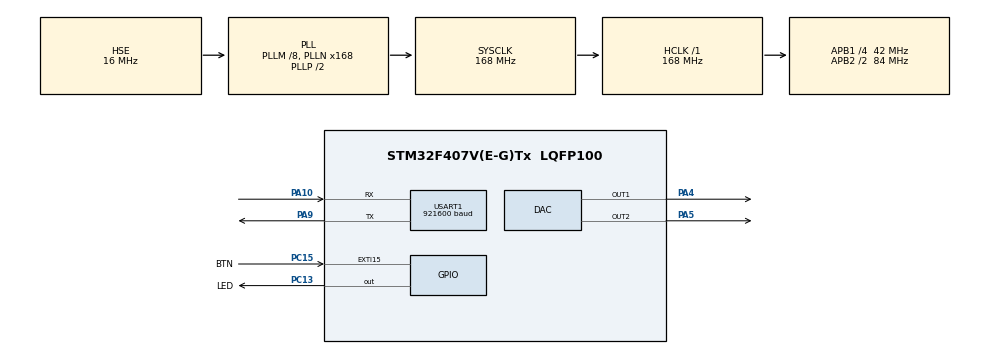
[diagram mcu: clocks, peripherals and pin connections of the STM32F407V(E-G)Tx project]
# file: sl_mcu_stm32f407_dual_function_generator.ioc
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ARM.CMSIS.5.6.0.CMSISJjDSP=Library
DAC.DAC_Trigger=DAC_TRIGGER_T6_TRGO
DAC.DAC_Trigger2=DAC_TRIGGER_T6_TRGO
Dma.DAC1.0.Direction=DMA_MEMORY_TO_PERIPH
Dma.DAC1.0.FIFOMode=DMA_FIFOMODE_DISABLE
Dma.DAC1.0.Instance=DMA1_Stream5
Dma.DAC1.0.MemDataAlignment=DMA_MDATAALIGN_HALFWORD
Dma.DAC1.0.MemInc=DMA_MINC_ENABLE
Dma.DAC1.0.Mode=DMA_CIRCULAR
Dma.DAC1.0.PeriphDataAlignment=DMA_PDATAALIGN_HALFWORD
Dma.DAC1.0.PeriphInc=DMA_PINC_DISABLE
Dma.DAC1.0.Priority=DMA_PRIORITY_LOW
Dma.DAC2.1.Direction=DMA_MEMORY_TO_PERIPH
Dma.DAC2.1.FIFOMode=DMA_FIFOMODE_DISABLE
Dma.DAC2.1.Instance=DMA1_Stream6
Dma.DAC2.1.MemDataAlignment=DMA_MDATAALIGN_HALFWORD
Dma.DAC2.1.MemInc=DMA_MINC_ENABLE
Dma.DAC2.1.Mode=DMA_CIRCULAR
Dma.DAC2.1.PeriphDataAlignment=DMA_PDATAALIGN_HALFWORD
Dma.DAC2.1.PeriphInc=DMA_PINC_DISABLE
Dma.DAC2.1.Priority=DMA_PRIORITY_LOW
Dma.Request0=DAC1
Dma.Request1=DAC2
Mcu.Family=STM32F4
Mcu.Name=STM32F407V(E-G)Tx
Mcu.Package=LQFP100
NVIC.DMA1_Stream5_IRQn=true\:0\:0\:false\:false\:true\:false\:true\:true
NVIC.DMA1_Stream6_IRQn=true\:0\:0\:false\:false\:true\:false\:true\:true
NVIC.EXTI15_10_IRQn=true\:0\:0\:false\:false\:true\:true\:true\:true
NVIC.PriorityGroup=NVIC_PRIORITYGROUP_4
PA10.Mode=Asynchronous
PA10.Signal=USART1_RX
PA13.Mode=Trace_Asynchronous_SW
PA13.Signal=SYS_JTMS-SWDIO
PA14.Mode=Trace_Asynchronous_SW
PA14.Signal=SYS_JTCK-SWCLK
PA4.Signal=COMP_DAC1_group
PA5.Signal=COMP_DAC2_group
PA9.Mode=Asynchronous
PA9.Signal=USART1_TX
PB3.Mode=Trace_Asynchronous_SW
PB3.Signal=SYS_JTDO-SWO
PC13-ANTI_TAMP.GPIO_Label=LED
PC13-ANTI_TAMP.GPIO_ModeDefaultOutputPP=GPIO_MODE_OUTPUT_OD
PC13-ANTI_TAMP.GPIO_PuPd=GPIO_NOPULL
PC13-ANTI_TAMP.PinState=GPIO_PIN_SET
PC13-ANTI_TAMP.Signal=GPIO_Output
PC15-OSC32_OUT.GPIO_Label=BTN
PC15-OSC32_OUT.GPIO_ModeDefaultEXTI=GPIO_MODE_IT_FALLING
PC15-OSC32_OUT.Signal=GPXTI15
PH0-OSC_IN.Mode=HSE-External-Oscillator
PH0-OSC_IN.Signal=RCC_OSC_IN
PH1-OSC_OUT.Mode=HSE-External-Oscillator
PH1-OSC_OUT.Signal=RCC_OSC_OUT
ProjectManager.HeapSize=0x200
ProjectManager.StackSize=0x400
ProjectManager.TargetToolchain=STM32CubeIDE
RCC.48MHZClocksFreq_Value=84000000
RCC.AHBFreq_Value=168000000
RCC.APB1CLKDivider=RCC_HCLK_DIV4
RCC.APB1Freq_Value=42000000
RCC.APB1TimFreq_Value=84000000
RCC.APB2CLKDivider=RCC_HCLK_DIV2
RCC.APB2Freq_Value=84000000
RCC.APB2TimFreq_Value=168000000
RCC.CortexFreq_Value=168000000
RCC.HCLKFreq_Value=168000000
RCC.HSE_VALUE=16000000
RCC.HSI_VALUE=16000000
RCC.LSE_VALUE=32768
RCC.PLLM=8
RCC.PLLN=168
RCC.PLLSourceVirtual=RCC_PLLSOURCE_HSE
RCC.SYSCLKFreq_VALUE=168000000
RCC.SYSCLKSource=RCC_SYSCLKSOURCE_PLLCLK
RCC.VCOOutputFreq_Value=336000000
SH.COMP_DAC1_group.0=DAC_OUT1,DAC_OUT1
SH.COMP_DAC2_group.0=DAC_OUT2,DAC_OUT2
TIM6.Period=5 - 1
TIM6.Prescaler=84 - 1
TIM6.TIM_MasterOutputTrigger=TIM_TRGO_UPDATE
USART1.BaudRate=921600
USART1.VirtualMode=VM_ASYNC
VP_ARM.CMSIS_VS_CMSISJjDSP_1.7.0_5.6.0.Mode=CMSISJjDSP
VP_TIM6_VS_ClockSourceINT.Mode=Enable_Timer
board=custom

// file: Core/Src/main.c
/* USER CODE BEGIN Header */
/**
 ******************************************************************************
 * @file           : main.c
 * @brief          : Main program body
 ******************************************************************************
 * @attention
 *
 * Copyright (c) 2026 STM32World <lth@stm32world.com>
 * All rights reserved.
 *
 * This software is licensed under terms that can be found in the LICENSE file
 * in the root directory of this software component.
 * If no LICENSE file comes with this software, it is provided AS-IS.
 *
 ******************************************************************************
 */
/* USER CODE END Header */
#include "main.h"

/* USER CODE BEGIN Includes */
#include <stdio.h>
#include <math.h>
#include <arm_math.h>
/* USER CODE END Includes */

/* USER CODE BEGIN PTD */

enum wave_t {
    SINE_WAVE = 0,
    SAW_RIGHT_WAVE = 1,
    SAW_LEFT_WAVE = 2,
    TRIANGLE_WAVE = 3,
    SQUARE_WAVE = 4
};

typedef struct {
    uint16_t *buffer;
    enum wave_t wave_type;
    float angle;
    float angle_change;
    float attenuation;
} channel_queue_t;

/* USER CODE END PTD */

/* USER CODE BEGIN PD */

#define DMA_BUFFER_SIZE 64
#define SAMPLE_FREQ 200000
#define OUTPUT_MID 2048
#define OUTPUT_MAX 4096

/* USER CODE END PD */

DAC_HandleTypeDef hdac;
DMA_HandleTypeDef hdma_dac1;
DMA_HandleTypeDef hdma_dac2;

TIM_HandleTypeDef htim6;

UART_HandleTypeDef huart1;

/* USER CODE BEGIN PV */

uint16_t dma_buffer_1[2 * DMA_BUFFER_SIZE];
uint16_t dma_buffer_2[2 * DMA_BUFFER_SIZE];

// Handler for both channels
channel_queue_t dacs[2] = {
        {
                &dma_buffer_1[0],
                SINE_WAVE,
                0,
                1000 * (2 * M_PI / SAMPLE_FREQ),
                0.99
        },
        {
                &dma_buffer_2[0],
                SINE_WAVE,
                0,
                1000 * (2 * M_PI / SAMPLE_FREQ),
                0.99
        }
};

uint8_t change_wave = 0;

/* USER CODE END PV */

void SystemClock_Config(void);
static void MX_GPIO_Init(void);
static void MX_DMA_Init(void);
static void MX_DAC_Init(void);
static void MX_USART1_UART_Init(void);
static void MX_TIM6_Init(void);

/* USER CODE BEGIN 0 */

// Send printf to uart1
int __io_putchar(int ch) {
    if (ch == '\n') {
        HAL_UART_Transmit(&huart1, (uint8_t*) "\r", 1, HAL_MAX_DELAY);
    }
    if (HAL_UART_Transmit(&huart1, (uint8_t*) &ch, 1, HAL_MAX_DELAY) != HAL_OK) {
        return -1;
    }
    return ch;
}

void process_buffer(channel_queue_t *channel) {
    // Pre-calculate inverse constants to replace slow division with multiplication
    const float inv_two_pi = 1.0f / (float) M_TWOPI;

    // Pre-calculate invariant scaling limits based on the channel's attenuation
    float peak_to_peak = (OUTPUT_MAX - 1) * channel->attenuation;
    float minimum_val = OUTPUT_MID - (peak_to_peak / 2.0f);

    // Run through the buffer using Loop Unswitching for maximum performance
    switch (channel->wave_type) {

    case SINE_WAVE: {
        // Pre-calculate the absolute scaling factor for the sine loop
        float sine_amp = channel->attenuation * OUTPUT_MID;

        for (int i = 0; i < DMA_BUFFER_SIZE; ++i) {
            // arm_cos_f32 uses the FPU excellently, no division required
            channel->buffer[i] = (uint16_t) (OUTPUT_MID - (sine_amp * arm_cos_f32(channel->angle)));

            channel->angle += channel->angle_change;
            if (channel->angle >= (float) M_TWOPI) {
                channel->angle -= (float) M_TWOPI;
            }
        }
        break;
    }

    case SAW_RIGHT_WAVE:
        for (int i = 0; i < DMA_BUFFER_SIZE; ++i) {
            float normalized_phase = channel->angle * inv_two_pi;

            channel->buffer[i] = (uint16_t) (minimum_val + (normalized_phase * peak_to_peak));

            channel->angle += channel->angle_change;
            if (channel->angle >= (float) M_TWOPI) {
                channel->angle -= (float) M_TWOPI;
            }
        }
        break;

    case SAW_LEFT_WAVE:
        for (int i = 0; i < DMA_BUFFER_SIZE; ++i) {
            float normalized_phase = channel->angle * inv_two_pi;

            // Invert the phase step to make it ramp downwards
            channel->buffer[i] = (uint16_t) (minimum_val + ((1.0f - normalized_phase) * peak_to_peak));

            channel->angle += channel->angle_change;
            if (channel->angle >= (float) M_TWOPI) {
                channel->angle -= (float) M_TWOPI;
            }
        }
        break;

    case TRIANGLE_WAVE:
        for (int i = 0; i < DMA_BUFFER_SIZE; ++i) {
            float normalized_phase = channel->angle * inv_two_pi;
            float tri_value;

            if (normalized_phase < 0.5f) {
                // Rise phase: scale [0.0 to 0.5] -> [0.0 to 1.0]
                tri_value = normalized_phase * 2.0f;
            } else {
                // Fall phase: scale [0.5 to 1.0] -> [1.0 to 0.0]
                tri_value = 2.0f - (normalized_phase * 2.0f);
            }

            channel->buffer[i] = (uint16_t) (minimum_val + (tri_value * peak_to_peak));

            channel->angle += channel->angle_change;
            if (channel->angle >= (float) M_TWOPI) {
                channel->angle -= (float) M_TWOPI;
            }
        }
        break;

    case SQUARE_WAVE: {
        // Pre-calculate hard high and low values outside the loop
        uint16_t high_level = (uint16_t) (OUTPUT_MID + (peak_to_peak / 2.0f));
        uint16_t low_level = (uint16_t) (OUTPUT_MID - (peak_to_peak / 2.0f));

        for (int i = 0; i < DMA_BUFFER_SIZE; ++i) {
            float normalized_phase = channel->angle * inv_two_pi;

            if (normalized_phase < 0.5f) {
                channel->buffer[i] = high_level;
            } else {
                channel->buffer[i] = low_level;
            }

            channel->angle += channel->angle_change;
            if (channel->angle >= (float) M_TWOPI) {
                channel->angle -= (float) M_TWOPI;
            }
        }
        break;
    }

    default:
        // Graceful fallback: output a flat mid-level DC signal if an invalid wave type is passed
        for (int i = 0; i < DMA_BUFFER_SIZE; ++i) {
            channel->buffer[i] = OUTPUT_MID;
        }
        break;
    }
}

void HAL_DAC_ConvHalfCpltCallbackCh1(DAC_HandleTypeDef *hdac) {
    //++conv_half_ch1;
    dacs[0].buffer = &dma_buffer_1[0];
    process_buffer(&dacs[0]);
}

void HAL_DAC_ConvCpltCallbackCh1(DAC_HandleTypeDef *hdac) {
    //++conv_ch1;
    dacs[0].buffer = &dma_buffer_1[DMA_BUFFER_SIZE];
    process_buffer(&dacs[0]);
}

void HAL_DACEx_ConvHalfCpltCallbackCh2(DAC_HandleTypeDef *hdac) {
    //++conv_half_ch2;
    dacs[1].buffer = &dma_buffer_2[0];
    process_buffer(&dacs[1]);
}

void HAL_DACEx_ConvCpltCallbackCh2(DAC_HandleTypeDef *hdac) {
    //++conv_ch2;
    dacs[1].buffer = &dma_buffer_2[DMA_BUFFER_SIZE];
    process_buffer(&dacs[1]);
}

void HAL_GPIO_EXTI_Callback(uint16_t GPIO_Pin) {
    if (GPIO_Pin == BTN_Pin) { // If the button
        change_wave = 1;
    }
}

/* USER CODE END 0 */

int main(void)
{

    /* MCU Configuration--------------------------------------------------------*/

    /* Reset of all peripherals, Initializes the Flash interface and the Systick. */
    HAL_Init();

    /* Configure the system clock */
    SystemClock_Config();

    /* Initialize all configured peripherals */
    MX_GPIO_Init();
    MX_DMA_Init();
    MX_DAC_Init();
    MX_USART1_UART_Init();
    MX_TIM6_Init();
    /* USER CODE BEGIN 2 */

    printf("\n\n\nStarting Function Generator\n");

    HAL_TIM_Base_Start_IT(&htim6);

    HAL_DAC_Start_DMA(&hdac, DAC_CHANNEL_1, (uint32_t*) &dma_buffer_1, 2 * DMA_BUFFER_SIZE, DAC_ALIGN_12B_R);
    HAL_DAC_Start_DMA(&hdac, DAC_CHANNEL_2, (uint32_t*) &dma_buffer_2, 2 * DMA_BUFFER_SIZE, DAC_ALIGN_12B_R);

    /* USER CODE END 2 */

    /* Infinite loop */
    /* USER CODE BEGIN WHILE */

    uint32_t now, loop_cnt = 0, next_blink = 500, next_tick = 1000;

    while (1) {

        now = uwTick;

        if (change_wave) {
            printf("Change wave\n");

            ++dacs[1].wave_type; // a tad ugly - if interrupt happens while this is one too big it will be handled by switch default

            if (dacs[1].wave_type > 4)
                dacs[1].wave_type = 0;

            change_wave = 0;
        }

        if (now >= next_blink) {
            HAL_GPIO_TogglePin(LED_GPIO_Port, LED_Pin);
            next_blink = now + 500;
        }

        if (now >= next_tick) {
            printf("Tick %lu (loop=%lu)\n", now / 1000, loop_cnt);
            loop_cnt = 0;
            next_tick = now + 1000;
        }

        ++loop_cnt;

        /* USER CODE END WHILE */

    }
}

void SystemClock_Config(void)
{
    RCC_OscInitTypeDef RCC_OscInitStruct = { 0 };
    RCC_ClkInitTypeDef RCC_ClkInitStruct = { 0 };

    /** Configure the main internal regulator output voltage
     */
    __HAL_RCC_PWR_CLK_ENABLE();
    __HAL_PWR_VOLTAGESCALING_CONFIG(PWR_REGULATOR_VOLTAGE_SCALE1);

    /** Initializes the RCC Oscillators according to the specified parameters
     * in the RCC_OscInitTypeDef structure.
     */
    RCC_OscInitStruct.OscillatorType = RCC_OSCILLATORTYPE_HSE;
    RCC_OscInitStruct.HSEState = RCC_HSE_ON;
    RCC_OscInitStruct.PLL.PLLState = RCC_PLL_ON;
    RCC_OscInitStruct.PLL.PLLSource = RCC_PLLSOURCE_HSE;
    RCC_OscInitStruct.PLL.PLLM = 8;
    RCC_OscInitStruct.PLL.PLLN = 168;
    RCC_OscInitStruct.PLL.PLLP = RCC_PLLP_DIV2;
    RCC_OscInitStruct.PLL.PLLQ = 4;
    if (HAL_RCC_OscConfig(&RCC_OscInitStruct) != HAL_OK)
            {
        Error_Handler();
    }

    /** Initializes the CPU, AHB and APB buses clocks
     */
    RCC_ClkInitStruct.ClockType = RCC_CLOCKTYPE_HCLK | RCC_CLOCKTYPE_SYSCLK
            | RCC_CLOCKTYPE_PCLK1 | RCC_CLOCKTYPE_PCLK2;
    RCC_ClkInitStruct.SYSCLKSource = RCC_SYSCLKSOURCE_PLLCLK;
    RCC_ClkInitStruct.AHBCLKDivider = RCC_SYSCLK_DIV1;
    RCC_ClkInitStruct.APB1CLKDivider = RCC_HCLK_DIV4;
    RCC_ClkInitStruct.APB2CLKDivider = RCC_HCLK_DIV2;

    if (HAL_RCC_ClockConfig(&RCC_ClkInitStruct, FLASH_LATENCY_5) != HAL_OK)
            {
        Error_Handler();
    }
}

static void MX_DAC_Init(void)
{

    DAC_ChannelConfTypeDef sConfig = { 0 };

    /** DAC Initialization
     */
    hdac.Instance = DAC;
    if (HAL_DAC_Init(&hdac) != HAL_OK)
            {
        Error_Handler();
    }

    /** DAC channel OUT1 config
     */
    sConfig.DAC_Trigger = DAC_TRIGGER_T6_TRGO;
    sConfig.DAC_OutputBuffer = DAC_OUTPUTBUFFER_ENABLE;
    if (HAL_DAC_ConfigChannel(&hdac, &sConfig, DAC_CHANNEL_1) != HAL_OK)
            {
        Error_Handler();
    }

    /** DAC channel OUT2 config
     */
    if (HAL_DAC_ConfigChannel(&hdac, &sConfig, DAC_CHANNEL_2) != HAL_OK)
            {
        Error_Handler();
    }

}

static void MX_TIM6_Init(void)
{

    TIM_MasterConfigTypeDef sMasterConfig = { 0 };

    htim6.Instance = TIM6;
    htim6.Init.Prescaler = 84 - 1;
    htim6.Init.CounterMode = TIM_COUNTERMODE_UP;
    htim6.Init.Period = 5 - 1;
    htim6.Init.AutoReloadPreload = TIM_AUTORELOAD_PRELOAD_DISABLE;
    if (HAL_TIM_Base_Init(&htim6) != HAL_OK)
            {
        Error_Handler();
    }
    sMasterConfig.MasterOutputTrigger = TIM_TRGO_UPDATE;
    sMasterConfig.MasterSlaveMode = TIM_MASTERSLAVEMODE_DISABLE;
    if (HAL_TIMEx_MasterConfigSynchronization(&htim6, &sMasterConfig) != HAL_OK)
            {
        Error_Handler();
    }

}

static void MX_USART1_UART_Init(void)
{

    huart1.Instance = USART1;
    huart1.Init.BaudRate = 921600;
    huart1.Init.WordLength = UART_WORDLENGTH_8B;
    huart1.Init.StopBits = UART_STOPBITS_1;
    huart1.Init.Parity = UART_PARITY_NONE;
    huart1.Init.Mode = UART_MODE_TX_RX;
    huart1.Init.HwFlowCtl = UART_HWCONTROL_NONE;
    huart1.Init.OverSampling = UART_OVERSAMPLING_16;
    if (HAL_UART_Init(&huart1) != HAL_OK)
            {
        Error_Handler();
    }

}

static void MX_DMA_Init(void)
{

    /* DMA controller clock enable */
    __HAL_RCC_DMA1_CLK_ENABLE();

    /* DMA interrupt init */
    /* DMA1_Stream5_IRQn interrupt configuration */
    HAL_NVIC_SetPriority(DMA1_Stream5_IRQn, 0, 0);
    HAL_NVIC_EnableIRQ(DMA1_Stream5_IRQn);
    /* DMA1_Stream6_IRQn interrupt configuration */
    HAL_NVIC_SetPriority(DMA1_Stream6_IRQn, 0, 0);
    HAL_NVIC_EnableIRQ(DMA1_Stream6_IRQn);

}

static void MX_GPIO_Init(void)
{
    GPIO_InitTypeDef GPIO_InitStruct = { 0 };

    /* GPIO Ports Clock Enable */
    __HAL_RCC_GPIOC_CLK_ENABLE();
    __HAL_RCC_GPIOH_CLK_ENABLE();
    __HAL_RCC_GPIOA_CLK_ENABLE();
    __HAL_RCC_GPIOB_CLK_ENABLE();

    /*Configure GPIO pin Output Level */
    HAL_GPIO_WritePin(LED_GPIO_Port, LED_Pin, GPIO_PIN_SET);

    /*Configure GPIO pin : LED_Pin */
    GPIO_InitStruct.Pin = LED_Pin;
    GPIO_InitStruct.Mode = GPIO_MODE_OUTPUT_OD;
    GPIO_InitStruct.Pull = GPIO_NOPULL;
    GPIO_InitStruct.Speed = GPIO_SPEED_FREQ_LOW;
    HAL_GPIO_Init(LED_GPIO_Port, &GPIO_InitStruct);

    /*Configure GPIO pin : BTN_Pin */
    GPIO_InitStruct.Pin = BTN_Pin;
    GPIO_InitStruct.Mode = GPIO_MODE_IT_FALLING;
    GPIO_InitStruct.Pull = GPIO_NOPULL;
    HAL_GPIO_Init(BTN_GPIO_Port, &GPIO_InitStruct);

    /* EXTI interrupt init*/
    HAL_NVIC_SetPriority(EXTI15_10_IRQn, 0, 0);
    HAL_NVIC_EnableIRQ(EXTI15_10_IRQn);

}

void Error_Handler(void)
{
    __disable_irq();
    while (1)
    {
    }
}
